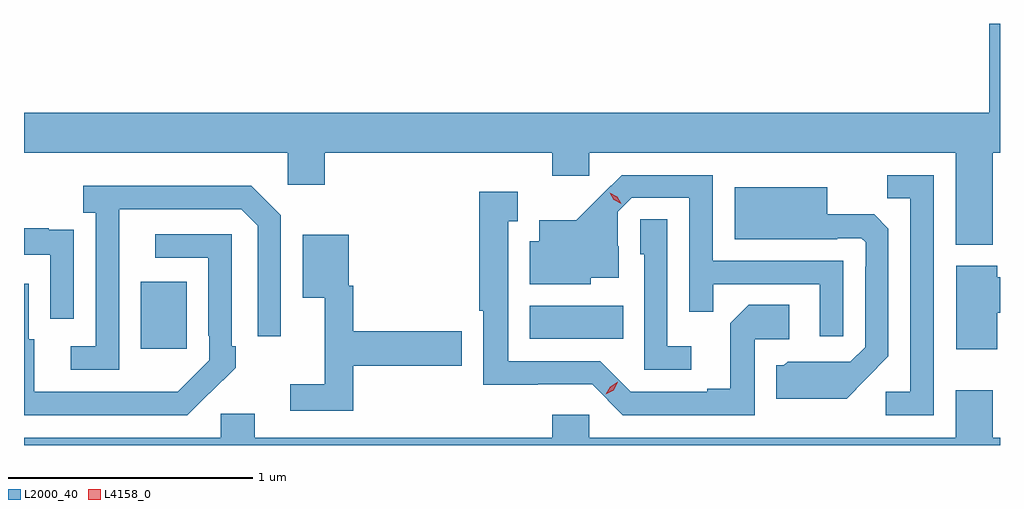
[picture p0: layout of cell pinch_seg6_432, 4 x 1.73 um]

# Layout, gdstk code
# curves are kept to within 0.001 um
import gdstk
lib = gdstk.Library(unit=1e-6, precision=1e-09)
def R(c, l, rs):  # rectangles x0, y0, x1, y1
    for r in rs: c.add(gdstk.rectangle(r[:2], r[2:], *l))
def P(c, l, *ps):  # polygons
    for p in ps: c.add(gdstk.Polygon(p, *l))
L2000_40 = (2000, 40)
L4158_0 = (4158, 0)

pinch_seg6_432 = lib.new_cell('pinch_seg6_432')
R(pinch_seg6_432, L2000_40, [(712.979,915.897,713.167,916.171), (714.572,915.938,714.956,916.072)])
P(pinch_seg6_432, L2000_40, [(716.471,916.7),(716.5,916.7),(716.5,917.229),(716.456,917.229),(716.456,916.864),(712.5,916.864),(712.5,916.7),(713.58,916.7),(713.58,916.569),(713.732,916.569),(713.732,916.7),(714.665,916.7),(714.665,916.605),(714.816,916.605),(714.816,916.7),(716.318,916.7),(716.318,916.322),(716.471,916.322)],
  [(716.229,916.608),(716.038,916.608),(716.038,916.513),(716.133,916.513),(716.133,915.72),(716.031,915.72),(716.031,915.624),(716.229,915.624)],
  [(715.857,916.257),(715.323,916.257),(715.323,916.608),(714.95,916.608),(714.763,916.423),(714.611,916.423),(714.611,916.336),(714.572,916.336),(714.572,916.16),(714.822,916.16),(714.822,916.187),(714.937,916.187),(714.937,916.316),(714.933,916.316),(714.933,916.458),(714.99,916.515),(715.227,916.515),(715.227,916.048),(715.325,916.048),(715.325,916.161),(715.761,916.161),(715.761,915.948),(715.857,915.948)],
  [(712.89,916.267),(712.891,916.467),(713.391,916.467),(713.457,916.401),(713.457,915.948),(713.553,915.948),(713.553,916.443),(713.432,916.564),(712.743,916.564),(712.743,916.454),(712.794,916.454),(712.794,915.906),(712.692,915.906),(712.692,915.81),(712.89,915.81)],
  [(715.951,915.773),(716.043,915.866),(716.043,916.388),(715.984,916.447),(715.792,916.447),(715.792,916.558),(715.412,916.558),(715.412,916.346),(715.832,916.346),(715.832,916.35),(715.932,916.35),(715.95,916.332),(715.95,916.232),(715.947,916.232),(715.947,915.903),(715.887,915.843),(715.63,915.844),(715.614,915.828),(715.583,915.828),(715.583,915.692),(715.871,915.692)],
  [(715.494,915.936),(715.636,915.936),(715.636,916.076),(715.471,916.076),(715.395,916),(715.395,915.733),(715.301,915.733),(715.301,915.72),(714.987,915.72),(714.861,915.846),(714.484,915.846),(714.484,916.419),(714.523,916.419),(714.523,916.54),(714.366,916.54),(714.366,916.051),(714.383,916.051),(714.383,915.749),(714.828,915.75),(714.954,915.624),(715.494,915.624)],
  [(715.234,915.907),(715.137,915.907),(715.137,916.427),(715.026,916.427),(715.026,916.284),(715.041,916.284),(715.041,915.81),(715.234,915.81)],
  [(712.704,916.274),(712.703,916.274),(712.703,916.383),(712.601,916.383),(712.601,916.39),(712.5,916.39),(712.5,916.281),(712.608,916.281),(712.608,916.02),(712.704,916.02)],
  [(713.261,915.715),(713.262,915.714),(713.367,915.819),(713.367,915.907),(713.352,915.907),(713.352,916.365),(713.037,916.365),(713.037,916.269),(713.256,916.269),(713.256,915.949),(713.259,915.949),(713.259,915.849),(713.131,915.721),(712.543,915.72),(712.543,915.936),(712.519,915.936),(712.519,916.162),(712.5,916.162),(712.5,915.624),(713.17,915.624)],
  [(713.849,915.826),(714.295,915.826),(714.295,915.968),(713.849,915.968),(713.849,916.155),(713.83,916.155),(713.83,916.363),(713.642,916.363),(713.642,916.106),(713.732,916.106),(713.732,915.751),(713.592,915.751),(713.592,915.642),(713.849,915.642)],
  [(716.488,916.043),(716.5,916.043),(716.5,916.19),(716.488,916.19),(716.488,916.237),(716.321,916.237),(716.321,915.894),(716.488,915.894)],
  [(716.5,915.532),(716.471,915.532),(716.471,915.727),(716.318,915.727),(716.318,915.532),(714.816,915.532),(714.816,915.625),(714.665,915.625),(714.665,915.532),(713.446,915.532),(713.446,915.63),(713.307,915.63),(713.307,915.532),(712.5,915.532),(712.5,915.5),(716.5,915.5)])
P(pinch_seg6_432, L4158_0, [(714.948,916.49),(714.918,916.506),(714.901,916.535),(714.901,916.536),(714.901,916.536),(714.932,916.52),(714.948,916.49),(714.948,916.49)],
  [(714.884,915.709),(714.884,915.709),(714.902,915.741),(714.933,915.76),(714.934,915.76),(714.934,915.76),(714.916,915.727),(714.884,915.709)])

lib.write_gds('pinch_seg6_432.gds')
